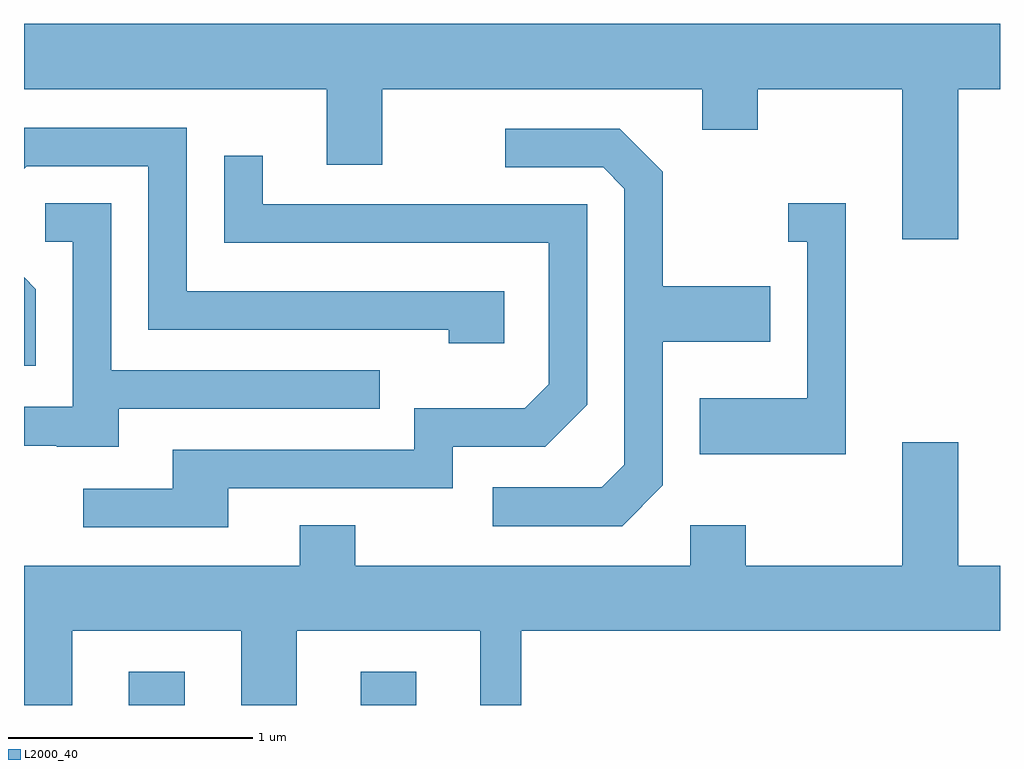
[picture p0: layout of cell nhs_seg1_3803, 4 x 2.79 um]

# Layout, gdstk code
import gdstk
lib = gdstk.Library(unit=1e-6, precision=1e-09)
def R(c, l, rs):  # rectangles x0, y0, x1, y1
    for r in rs: c.add(gdstk.rectangle(r[:2], r[2:], *l))
def P(c, l, *ps):  # polygons
    for p in ps: c.add(gdstk.Polygon(p, *l))
L2000_40 = (2000, 40)

nhs_seg1_3803 = lib.new_cell('nhs_seg1_3803')
R(nhs_seg1_3803, L2000_40, [(300.041,903.712,300.269,903.849), (300.991,903.712,301.219,903.849)])
P(nhs_seg1_3803, L2000_40, [(303.439,906.236),(303.611,906.236),(303.611,906.504),(299.611,906.504),(299.611,906.236),(300.851,906.236),(300.851,905.926),(301.079,905.926),(301.079,906.236),(302.391,906.236),(302.391,906.071),(302.619,906.071),(302.619,906.236),(303.211,906.236),(303.211,905.621),(303.439,905.621)],
  [(301.579,905.409),(300.279,905.409),(300.279,906.079),(299.611,906.079),(299.611,905.91),(299.622,905.921),(300.121,905.921),(300.121,905.251),(301.351,905.251),(301.351,905.196),(301.579,905.196)],
  [(302.229,904.614),(302.229,905.201),(302.669,905.201),(302.669,905.429),(302.229,905.429),(302.229,905.897),(302.052,906.074),(301.583,906.074),(301.583,905.916),(301.984,905.916),(302.071,905.829),(302.071,904.697),(301.979,904.604),(301.533,904.604),(301.533,904.446),(302.062,904.446)],
  [(300.449,904.601),(301.369,904.601),(301.369,904.771),(301.747,904.771),(301.919,904.944),(301.919,905.764),(300.589,905.764),(300.589,905.963),(300.431,905.963),(300.431,905.606),(301.761,905.606),(301.761,905.027),(301.664,904.929),(301.211,904.929),(301.211,904.759),(300.221,904.759),(300.221,904.599),(299.853,904.599),(299.853,904.441),(300.449,904.441)],
  [(302.979,905.769),(302.743,905.769),(302.743,905.611),(302.821,905.611),(302.821,904.969),(302.381,904.969),(302.381,904.741),(302.979,904.741)],
  [(299.999,904.926),(301.068,904.926),(301.068,905.084),(299.969,905.084),(299.969,905.769),(299.698,905.769),(299.698,905.611),(299.811,905.611),(299.811,904.934),(299.611,904.934),(299.611,904.776),(299.745,904.776),(299.745,904.771),(299.999,904.771)],
  [(299.659,905.417),(299.611,905.465),(299.611,905.103),(299.659,905.103)],
  [(303.611,904.284),(303.439,904.284),(303.439,904.789),(303.211,904.789),(303.211,904.284),(302.569,904.284),(302.569,904.449),(302.341,904.449),(302.341,904.284),(300.969,904.284),(300.969,904.449),(300.741,904.449),(300.741,904.284),(299.611,904.284),(299.611,903.712),(299.809,903.712),(299.809,904.016),(300.501,904.016),(300.501,903.712),(300.729,903.712),(300.729,904.016),(301.481,904.016),(301.481,903.712),(301.649,903.712),(301.649,904.016),(303.611,904.016)])

lib.write_gds('nhs_seg1_3803.gds')
